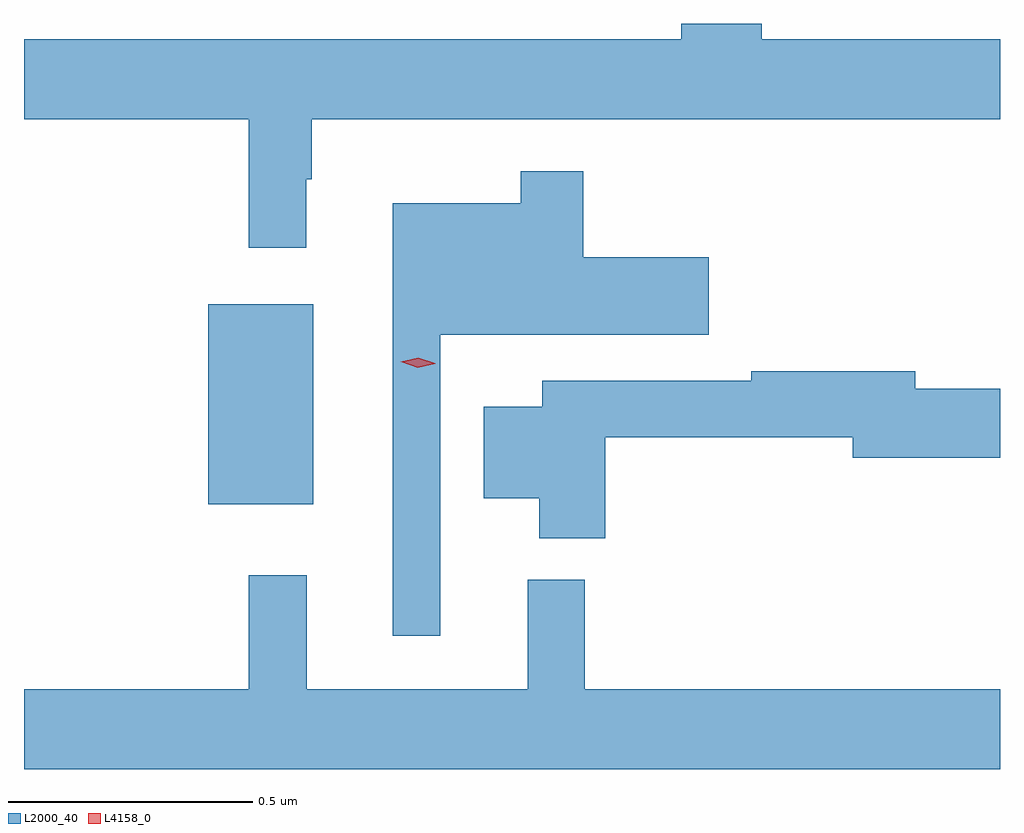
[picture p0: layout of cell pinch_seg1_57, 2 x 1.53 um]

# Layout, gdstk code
import gdstk
lib = gdstk.Library(unit=1e-6, precision=1e-09)
def R(c, l, rs):  # rectangles x0, y0, x1, y1
    for r in rs: c.add(gdstk.rectangle(r[:2], r[2:], *l))
def P(c, l, *ps):  # polygons
    for p in ps: c.add(gdstk.Polygon(p, *l))
L2000_40 = (2000, 40)
L4158_0 = (4158, 0)

pinch_seg1_57 = lib.new_cell('pinch_seg1_57')
R(pinch_seg1_57, L2000_40, [(1052.912,572.255,1053.127,572.665)])
P(pinch_seg1_57, L2000_40, [(1053.112,572.921),(1053.124,572.921),(1053.124,573.044),(1054.534,573.044),(1054.534,573.208),(1054.046,573.208),(1054.046,573.24),(1053.881,573.24),(1053.881,573.208),(1052.534,573.208),(1052.534,573.044),(1052.995,573.044),(1052.995,572.781),(1053.112,572.781)],
  [(1053.387,572.603),(1053.937,572.603),(1053.937,572.761),(1053.68,572.761),(1053.68,572.938),(1053.552,572.938),(1053.552,572.872),(1053.29,572.872),(1053.29,571.986),(1053.387,571.986)],
  [(1053.725,572.392),(1054.232,572.392),(1054.232,572.35),(1054.534,572.35),(1054.534,572.492),(1054.36,572.492),(1054.36,572.528),(1054.024,572.528),(1054.024,572.508),(1053.596,572.508),(1053.596,572.455),(1053.476,572.455),(1053.476,572.267),(1053.59,572.267),(1053.59,572.186),(1053.725,572.186)],
  [(1054.534,571.876),(1053.683,571.876),(1053.683,572.101),(1053.566,572.101),(1053.566,571.876),(1053.113,571.876),(1053.113,572.11),(1052.995,572.11),(1052.995,571.876),(1052.534,571.876),(1052.534,571.712),(1054.534,571.712)])
P(pinch_seg1_57, L4158_0, [(1053.341,572.535),(1053.306,572.547),(1053.306,572.547),(1053.306,572.547),(1053.342,572.555),(1053.377,572.544),(1053.377,572.543),(1053.377,572.543)])

lib.write_gds('pinch_seg1_57.gds')
